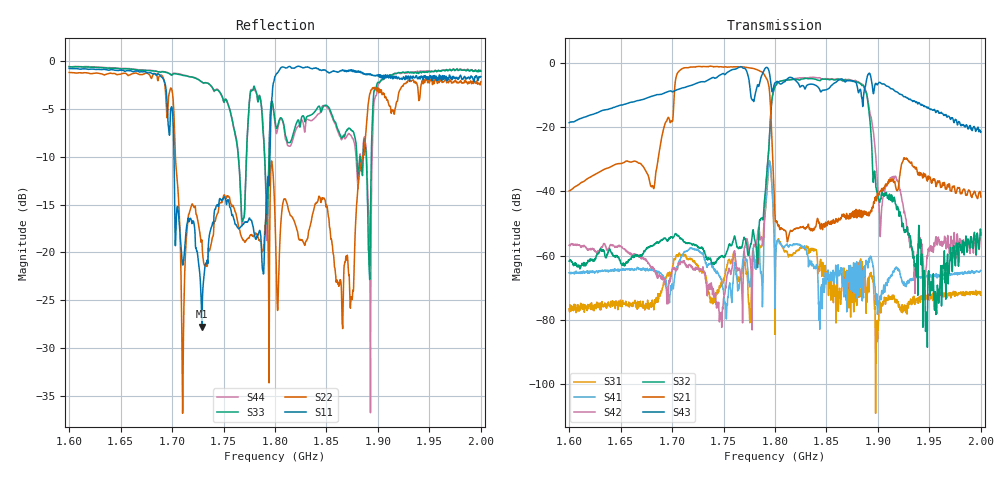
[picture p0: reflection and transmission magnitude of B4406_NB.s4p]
! Matrix data file written by TouchstoneData, EPCOS AG
! FILENAME: "ptable_B4406_02_NB_matched.s4p"
! COMMENT: "S4P matched (B4406_02_NB_matched.s4p)"
! INFO: nport=4, nfreq=1601
! DATE: "Wed Feb 13 20:40:19 2013"
! USER: "Michael Schemies"
! port | pin | signal
!  1  |  3  |  Tx
!  2  |  6  |  Ant
!  3  |  8  |  Rx
!  4  |  1  |  Rx
# MHZ S RI R 50
! freq  reS11 imS11  reS12 imS12  reS13 imS13  reS14 imS14  ...
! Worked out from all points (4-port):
!   1601 points, 1.6 GHz to 2 GHz, reference 50 ohm
!   strongest paths, dB at 1.6 GHz, 1.7 GHz, 1.8 GHz, 1.9 GHz, 2 GHz:
!     S43: -18.7, -9.1, -6.3, -6.6, -21.6
!     S21: -39.9, -18.3, -47.5, -40.8, -41.8
!     S32: -61.7, -54.3, -7.5, -41.3, -53.4
!     S42: -56.8, -64.9, -7.3, -39.5, -53.7
!     S41: -65.4, -68.7, -76.4, -76.9, -64.6
!     S31: -76.5, -64.4, -84.5, -82.9, -72.3
!   lowest |S11| = -27.8 dB at 1.729 GHz (marker M1), VSWR 1.09, Z = 46.1 - j0.301 ohm
!   |S11| at or under -10 dB: 1.702 GHz to 1.795 GHz (93.2 MHz wide, 5.33 % of centre)
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1600  -0.7862 -0.4671  -0.00754 0.00672  -0.000148 -1.73e-05  -0.000535 6e-05
      -0.00754 0.00672  0.4095 -0.7691  -0.000259 0.000777  0.00104 0.001
      -0.000148 -1.73e-05  -0.000259 0.000777  0.6381 -0.6819  0.0994 0.0607
      -0.000535 6e-05  0.00104 0.001  0.0994 0.0607  0.7194 -0.5991
1729  -0.0407 -0.00326  0.6236 0.5867  0.000139 0.000515  -0.000366 0.00101
      0.6236 0.5867  -0.0407 0.1084  -0.000346 0.0013  0.000286 0.000521
      0.000139 0.000515  -0.000346 0.0013  0.1991 -0.7482  0.493 0.1058
      -0.000366 0.00101  0.000286 0.000521  0.493 0.1058  0.2836 -0.7224
1777.25  0.1366 -0.0531  -0.818 0.0939  0.000322 6.05e-05  -0.000675 -0.000204
         -0.818 0.0939  -0.1226 0.0186  -0.00151 0.000857  -8.38e-05 0.000277
         0.000322 6.05e-05  -0.00151 0.000857  0.5337 -0.4497  0.1559 -0.2254
         -0.000675 -0.000204  -8.38e-05 0.000277  0.1559 -0.2254  0.5821 -0.402
1822.5  0.3295 -0.8793  -0.00263 -0.000495  0.000768 -0.000919  -0.00131 0.000667
        -0.00263 -0.000495  -0.0289 -0.119  0.2932 0.4562  -0.2945 -0.491
        0.000768 -0.000919  0.2932 0.4562  0.376 -0.3175  0.2561 -0.405
        -0.00131 0.000667  -0.2945 -0.491  0.2561 -0.405  0.3877 -0.2407
1886.75  -0.3732 -0.7661  -0.00245 0.00429  -0.000179 0.000406  -0.000548 -0.000304
         -0.00245 0.00429  -0.075 0.3297  0.1591 -0.3712  -0.1773 0.3731
         -0.000179 0.000406  0.1591 -0.3712  0.343 -0.1846  0.2875 -0.2432
         -0.000548 -0.000304  -0.1773 0.3731  0.2875 -0.2432  0.3737 -0.1406
1946.25  -0.5313 -0.6402  0.013 0.0122  -0.000218 -4.44e-06  -0.000479 -1.32e-05
         0.013 0.0122  0.77 0.2472  6.57e-05 9.19e-06  -5.48e-05 0.000535
         -0.000218 -4.44e-06  6.57e-05 9.19e-06  0.7372 -0.4728  -0.0463 -0.2011
         -0.000479 -1.32e-05  -5.48e-05 0.000535  -0.0463 -0.2011  0.8158 -0.3441
2000  -0.6145 -0.5546  0.00652 0.00489  -0.000241 2.5e-05  -0.000592 1.08e-05
      0.00652 0.00489  0.6957 -0.353  0.000575 0.00206  0.00118 0.0017
      -0.000241 2.5e-05  0.000575 0.00206  0.6321 -0.6192  0.0242 -0.0801
      -0.000592 1.08e-05  0.00118 0.0017  0.0242 -0.0801  0.725 -0.5158
